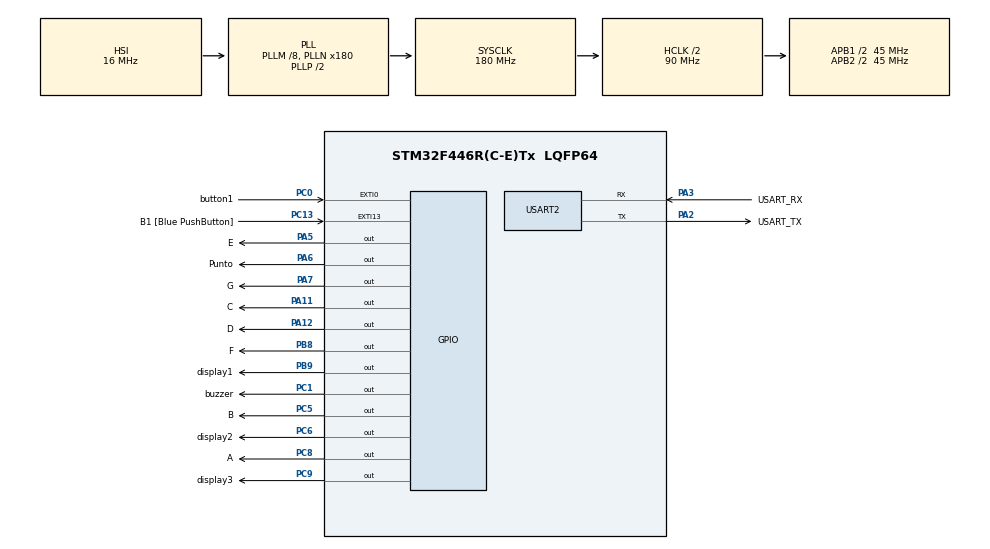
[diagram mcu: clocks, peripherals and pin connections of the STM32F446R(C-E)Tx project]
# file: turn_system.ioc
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Mcu.Family=STM32F4
Mcu.Name=STM32F446R(C-E)Tx
Mcu.Package=LQFP64
NVIC.EXTI0_IRQn=true\:0\:3\:false\:true\:true\:4\:true\:true\:true
NVIC.EXTI15_10_IRQn=true\:0\:0\:false\:true\:true\:3\:true\:true\:true
NVIC.PriorityGroup=NVIC_PRIORITYGROUP_0
NVIC.TIM2_IRQn=true\:0\:2\:false\:true\:true\:1\:true\:true\:true
NVIC.TIM3_IRQn=true\:0\:3\:true\:true\:true\:2\:true\:true\:true
PA11.GPIO_Label=C
PA11.Signal=GPIO_Output
PA12.GPIO_Label=D
PA12.Signal=GPIO_Output
PA13.GPIO_Label=TMS
PA13.Mode=Serial_Wire
PA13.Signal=SYS_JTMS-SWDIO
PA14.GPIO_Label=TCK
PA14.Mode=Serial_Wire
PA14.Signal=SYS_JTCK-SWCLK
PA2.GPIO_Label=USART_TX
PA2.Mode=Asynchronous
PA2.Signal=USART2_TX
PA3.GPIO_Label=USART_RX
PA3.Mode=Asynchronous
PA3.Signal=USART2_RX
PA5.GPIO_Label=E
PA5.Signal=GPIO_Output
PA6.GPIO_Label=Punto
PA6.Signal=GPIO_Output
PA7.GPIO_Label=G
PA7.Signal=GPIO_Output
PB3.GPIO_Label=SWO
PB3.Signal=SYS_JTDO-SWO
PB8.GPIO_Label=F
PB8.Signal=GPIO_Output
PB9.GPIO_Label=display1
PB9.Signal=GPIO_Output
PC0.GPIO_Label=button1
PC0.GPIO_ModeDefaultEXTI=GPIO_MODE_IT_RISING_FALLING
PC0.GPIO_PuPd=GPIO_NOPULL
PC0.Signal=GPXTI0
PC1.GPIO_Label=buzzer
PC1.Signal=GPIO_Output
PC13.GPIO_Label=B1 [Blue PushButton]
PC13.GPIO_ModeDefaultEXTI=GPIO_MODE_IT_FALLING
PC13.Signal=GPXTI13
PC14-OSC32_IN.Mode=LSE-External-Oscillator
PC14-OSC32_IN.Signal=RCC_OSC32_IN
PC15-OSC32_OUT.Mode=LSE-External-Oscillator
PC15-OSC32_OUT.Signal=RCC_OSC32_OUT
PC5.GPIO_Label=B
PC5.Signal=GPIO_Output
PC6.GPIO_Label=display2
PC6.Signal=GPIO_Output
PC8.GPIO_Label=A
PC8.Signal=GPIO_Output
PC9.GPIO_Label=display3
PC9.Signal=GPIO_Output
PH0-OSC_IN.Mode=HSE-External-Oscillator
PH0-OSC_IN.Signal=RCC_OSC_IN
PH1-OSC_OUT.Mode=HSE-External-Oscillator
PH1-OSC_OUT.Signal=RCC_OSC_OUT
ProjectManager.HeapSize=0x200
ProjectManager.StackSize=0x400
ProjectManager.TargetToolchain=STM32CubeIDE
RCC.48MHZClocksFreq_Value=84000000
RCC.AHBCLKDivider=RCC_SYSCLK_DIV2
RCC.AHBFreq_Value=90000000
RCC.APB1CLKDivider=RCC_HCLK_DIV2
RCC.APB1Freq_Value=45000000
RCC.APB1TimFreq_Value=90000000
RCC.APB2CLKDivider=RCC_HCLK_DIV2
RCC.APB2Freq_Value=45000000
RCC.APB2TimFreq_Value=90000000
RCC.CortexFreq_Value=90000000
RCC.FLatency-AdvancedSettings=FLASH_LATENCY_2
RCC.HCLKFreq_Value=90000000
RCC.HSE_VALUE=8000000
RCC.HSI_VALUE=16000000
RCC.PLLM=8
RCC.PLLN=180
RCC.SYSCLKFreq_VALUE=180000000
RCC.SYSCLKSource=RCC_SYSCLKSOURCE_PLLCLK
RCC.USBFreq_Value=180000000
RCC.VCOOutputFreq_Value=360000000
TIM2.Period=70
TIM2.Prescaler=9000-1
TIM3.AutoReloadPreload=TIM_AUTORELOAD_PRELOAD_ENABLE
TIM3.Period=10000-1
TIM3.Prescaler=9000-1
USART2.VirtualMode=VM_ASYNC
VP_TIM1_VS_ClockSourceINT.Mode=Internal
VP_TIM2_VS_ClockSourceINT.Mode=Internal
VP_TIM3_VS_ClockSourceINT.Mode=Internal
board=NUCLEO-F446RE

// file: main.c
/* USER CODE BEGIN Header */
/**
  ******************************************************************************
  * @file           : main.c
  * @brief          : Main program body
  ******************************************************************************
  * @attention
  *
  * Copyright (c) 2024 STMicroelectronics.
  * All rights reserved.
  *
  * This software is licensed under terms that can be found in the LICENSE file
  * in the root directory of this software component.
  * If no LICENSE file comes with this software, it is provided AS-IS.
  *
  ******************************************************************************
  */
/* USER CODE END Header */
#include "main.h"

TIM_HandleTypeDef htim1;
TIM_HandleTypeDef htim2;
TIM_HandleTypeDef htim3;

UART_HandleTypeDef huart2;

void SystemClock_Config(void);
static void MX_GPIO_Init(void);
static void MX_USART2_UART_Init(void);
static void MX_TIM1_Init(void);
static void MX_TIM2_Init(void);
static void MX_TIM3_Init(void);
static void MX_NVIC_Init(void);

/* USER CODE BEGIN 0 */
int number=0;
char d1;
char d2;
char d3;
char b1;
char ir;
void num(int n) {
    if (n == 0) {
    	GPIOC->ODR |= 0x0000120;
    	GPIOB->ODR |= 0x0000100;
    	GPIOA->ODR |= 0x0001860;
    } else if (n == 1) {
    	GPIOB->ODR |= 0x0000100;
    	GPIOA->ODR |= 0x0000060;
    }
    else if(n==2){
    	GPIOC->ODR |= 0x0000120;
    	GPIOA->ODR |= 0x00010E0;
    }
    else if(n==3){
    	GPIOC->ODR |= 0x0000120;
    	GPIOA->ODR |= 0x00018C0;
    }
    else if(n==4){
    	GPIOC->ODR |= 0x0000020;
		GPIOB->ODR |= 0x0000100;
		GPIOA->ODR |= 0x00008C0;
    }
    else if(n==5){
		GPIOA->ODR |= 0x00018C0;
		GPIOB->ODR |= 0x0000100;
		GPIOC->ODR |= 0x0000100;
    }
    else if(n==6){
    	GPIOA->ODR |= 0x00018E0;
    	GPIOB->ODR |= 0x0000100;
    	GPIOC->ODR |= 0x0000100;
	}
    else if(n==7){
    	GPIOA->ODR |=0x0000880;
    	GPIOC->ODR |= 0x0000120;
    }
    else if(n==8){
    	GPIOA->ODR |= 0x00018E0;
    	GPIOB->ODR |= 0x0000100;
    	GPIOC->ODR |= 0x0000120;
	}
    else if(n==9){
    	GPIOA->ODR |= 0x00018C0;
    	GPIOB->ODR |= 0x0000100;
    	GPIOC->ODR |= 0x0000120;
	}
}
void reset_all_pins(void) {
    // Reset all specified pins to low
	GPIOC->ODR &= 0xFFFFFC9F;
	GPIOB->ODR &= 0xFFFFFCFF;
	GPIOA->ODR &= 0xFFFFE71F;
    // c9 = 3display
    // c8 = A
    // c6 = display2
    // c5 = B
    // b8 = F
    // b9 = display1
    // a5 = E
    // a12 = D
    // a6 = DP
    // a11 = C
    // a7 = G
}

/* USER CODE END 0 */

int main(void)
{

  /* MCU Configuration--------------------------------------------------------*/

  /* Reset of all peripherals, Initializes the Flash interface and the Systick. */
  HAL_Init();

  /* Configure the system clock */
  SystemClock_Config();

  /* Initialize all configured peripherals */
  MX_GPIO_Init();
  MX_USART2_UART_Init();
  MX_TIM1_Init();
  MX_TIM2_Init();
  MX_TIM3_Init();

  /* Initialize interrupts */
  MX_NVIC_Init();
  /* USER CODE BEGIN 2 */
  HAL_TIM_Base_Start_IT(&htim2);
  //HAL_TIM_Base_Start_IT(&htim3);
  HAL_GPIO_WritePin(GPIOC, GPIO_PIN_9, 0);
  HAL_GPIO_WritePin(GPIOC, GPIO_PIN_6, 1);
  HAL_GPIO_WritePin(GPIOB, GPIO_PIN_9, 1);
  d1=110;
  d2=110;
  d3=115;
  b1=110;
  ir=110;
  /* USER CODE END 2 */

  /* Infinite loop */
  while (1)
  {

  }
}

void SystemClock_Config(void)
{
  RCC_OscInitTypeDef RCC_OscInitStruct = {0};
  RCC_ClkInitTypeDef RCC_ClkInitStruct = {0};

  /** Configure the main internal regulator output voltage
  */
  __HAL_RCC_PWR_CLK_ENABLE();
  __HAL_PWR_VOLTAGESCALING_CONFIG(PWR_REGULATOR_VOLTAGE_SCALE3);

  /** Initializes the RCC Oscillators according to the specified parameters
  * in the RCC_OscInitTypeDef structure.
  */
  RCC_OscInitStruct.OscillatorType = RCC_OSCILLATORTYPE_HSI;
  RCC_OscInitStruct.HSIState = RCC_HSI_ON;
  RCC_OscInitStruct.HSICalibrationValue = RCC_HSICALIBRATION_DEFAULT;
  RCC_OscInitStruct.PLL.PLLState = RCC_PLL_ON;
  RCC_OscInitStruct.PLL.PLLSource = RCC_PLLSOURCE_HSI;
  RCC_OscInitStruct.PLL.PLLM = 8;
  RCC_OscInitStruct.PLL.PLLN = 180;
  RCC_OscInitStruct.PLL.PLLP = RCC_PLLP_DIV2;
  RCC_OscInitStruct.PLL.PLLQ = 2;
  RCC_OscInitStruct.PLL.PLLR = 2;
  if (HAL_RCC_OscConfig(&RCC_OscInitStruct) != HAL_OK)
  {
    Error_Handler();
  }

  /** Initializes the CPU, AHB and APB buses clocks
  */
  RCC_ClkInitStruct.ClockType = RCC_CLOCKTYPE_HCLK|RCC_CLOCKTYPE_SYSCLK
                              |RCC_CLOCKTYPE_PCLK1|RCC_CLOCKTYPE_PCLK2;
  RCC_ClkInitStruct.SYSCLKSource = RCC_SYSCLKSOURCE_PLLCLK;
  RCC_ClkInitStruct.AHBCLKDivider = RCC_SYSCLK_DIV2;
  RCC_ClkInitStruct.APB1CLKDivider = RCC_HCLK_DIV2;
  RCC_ClkInitStruct.APB2CLKDivider = RCC_HCLK_DIV2;

  if (HAL_RCC_ClockConfig(&RCC_ClkInitStruct, FLASH_LATENCY_2) != HAL_OK)
  {
    Error_Handler();
  }
}

/**
  * @brief NVIC Configuration.
  * @retval None
  */
static void MX_NVIC_Init(void)
{
  /* TIM2_IRQn interrupt configuration */
  HAL_NVIC_SetPriority(TIM2_IRQn, 0, 2);
  HAL_NVIC_EnableIRQ(TIM2_IRQn);
  /* TIM3_IRQn interrupt configuration */
  HAL_NVIC_SetPriority(TIM3_IRQn, 0, 3);
  HAL_NVIC_EnableIRQ(TIM3_IRQn);
  /* EXTI15_10_IRQn interrupt configuration */
  HAL_NVIC_SetPriority(EXTI15_10_IRQn, 0, 0);
  HAL_NVIC_EnableIRQ(EXTI15_10_IRQn);
  /* EXTI0_IRQn interrupt configuration */
  HAL_NVIC_SetPriority(EXTI0_IRQn, 0, 3);
  HAL_NVIC_EnableIRQ(EXTI0_IRQn);
}

static void MX_TIM1_Init(void)
{

  TIM_ClockConfigTypeDef sClockSourceConfig = {0};
  TIM_MasterConfigTypeDef sMasterConfig = {0};

  htim1.Instance = TIM1;
  htim1.Init.Prescaler = 0;
  htim1.Init.CounterMode = TIM_COUNTERMODE_UP;
  htim1.Init.Period = 65535;
  htim1.Init.ClockDivision = TIM_CLOCKDIVISION_DIV1;
  htim1.Init.RepetitionCounter = 0;
  htim1.Init.AutoReloadPreload = TIM_AUTORELOAD_PRELOAD_DISABLE;
  if (HAL_TIM_Base_Init(&htim1) != HAL_OK)
  {
    Error_Handler();
  }
  sClockSourceConfig.ClockSource = TIM_CLOCKSOURCE_INTERNAL;
  if (HAL_TIM_ConfigClockSource(&htim1, &sClockSourceConfig) != HAL_OK)
  {
    Error_Handler();
  }
  sMasterConfig.MasterOutputTrigger = TIM_TRGO_RESET;
  sMasterConfig.MasterSlaveMode = TIM_MASTERSLAVEMODE_DISABLE;
  if (HAL_TIMEx_MasterConfigSynchronization(&htim1, &sMasterConfig) != HAL_OK)
  {
    Error_Handler();
  }

}

static void MX_TIM2_Init(void)
{

  TIM_ClockConfigTypeDef sClockSourceConfig = {0};
  TIM_MasterConfigTypeDef sMasterConfig = {0};

  htim2.Instance = TIM2;
  htim2.Init.Prescaler = 9000-1;
  htim2.Init.CounterMode = TIM_COUNTERMODE_UP;
  htim2.Init.Period = 70;
  htim2.Init.ClockDivision = TIM_CLOCKDIVISION_DIV1;
  htim2.Init.AutoReloadPreload = TIM_AUTORELOAD_PRELOAD_DISABLE;
  if (HAL_TIM_Base_Init(&htim2) != HAL_OK)
  {
    Error_Handler();
  }
  sClockSourceConfig.ClockSource = TIM_CLOCKSOURCE_INTERNAL;
  if (HAL_TIM_ConfigClockSource(&htim2, &sClockSourceConfig) != HAL_OK)
  {
    Error_Handler();
  }
  sMasterConfig.MasterOutputTrigger = TIM_TRGO_RESET;
  sMasterConfig.MasterSlaveMode = TIM_MASTERSLAVEMODE_DISABLE;
  if (HAL_TIMEx_MasterConfigSynchronization(&htim2, &sMasterConfig) != HAL_OK)
  {
    Error_Handler();
  }

}

static void MX_TIM3_Init(void)
{

  TIM_ClockConfigTypeDef sClockSourceConfig = {0};
  TIM_MasterConfigTypeDef sMasterConfig = {0};

  htim3.Instance = TIM3;
  htim3.Init.Prescaler = 9000-1;
  htim3.Init.CounterMode = TIM_COUNTERMODE_UP;
  htim3.Init.Period = 10000-1;
  htim3.Init.ClockDivision = TIM_CLOCKDIVISION_DIV1;
  htim3.Init.AutoReloadPreload = TIM_AUTORELOAD_PRELOAD_ENABLE;
  if (HAL_TIM_Base_Init(&htim3) != HAL_OK)
  {
    Error_Handler();
  }
  sClockSourceConfig.ClockSource = TIM_CLOCKSOURCE_INTERNAL;
  if (HAL_TIM_ConfigClockSource(&htim3, &sClockSourceConfig) != HAL_OK)
  {
    Error_Handler();
  }
  sMasterConfig.MasterOutputTrigger = TIM_TRGO_RESET;
  sMasterConfig.MasterSlaveMode = TIM_MASTERSLAVEMODE_DISABLE;
  if (HAL_TIMEx_MasterConfigSynchronization(&htim3, &sMasterConfig) != HAL_OK)
  {
    Error_Handler();
  }

}

static void MX_USART2_UART_Init(void)
{

  huart2.Instance = USART2;
  huart2.Init.BaudRate = 115200;
  huart2.Init.WordLength = UART_WORDLENGTH_8B;
  huart2.Init.StopBits = UART_STOPBITS_1;
  huart2.Init.Parity = UART_PARITY_NONE;
  huart2.Init.Mode = UART_MODE_TX_RX;
  huart2.Init.HwFlowCtl = UART_HWCONTROL_NONE;
  huart2.Init.OverSampling = UART_OVERSAMPLING_16;
  if (HAL_UART_Init(&huart2) != HAL_OK)
  {
    Error_Handler();
  }

}

static void MX_GPIO_Init(void)
{
  GPIO_InitTypeDef GPIO_InitStruct = {0};

  /* GPIO Ports Clock Enable */
  __HAL_RCC_GPIOC_CLK_ENABLE();
  __HAL_RCC_GPIOH_CLK_ENABLE();
  __HAL_RCC_GPIOA_CLK_ENABLE();
  __HAL_RCC_GPIOB_CLK_ENABLE();

  /*Configure GPIO pin Output Level */
  HAL_GPIO_WritePin(GPIOC, buzzer_Pin|B_Pin|display2_Pin|A_Pin
                          |display3_Pin, GPIO_PIN_RESET);

  /*Configure GPIO pin Output Level */
  HAL_GPIO_WritePin(GPIOA, E_Pin|Punto_Pin|G_Pin|C_Pin
                          |D_Pin, GPIO_PIN_RESET);

  /*Configure GPIO pin Output Level */
  HAL_GPIO_WritePin(GPIOB, F_Pin|display1_Pin, GPIO_PIN_RESET);

  /*Configure GPIO pin : B1_Pin */
  GPIO_InitStruct.Pin = B1_Pin;
  GPIO_InitStruct.Mode = GPIO_MODE_IT_FALLING;
  GPIO_InitStruct.Pull = GPIO_NOPULL;
  HAL_GPIO_Init(B1_GPIO_Port, &GPIO_InitStruct);

  /*Configure GPIO pin : button1_Pin */
  GPIO_InitStruct.Pin = button1_Pin;
  GPIO_InitStruct.Mode = GPIO_MODE_IT_RISING_FALLING;
  GPIO_InitStruct.Pull = GPIO_NOPULL;
  HAL_GPIO_Init(button1_GPIO_Port, &GPIO_InitStruct);

  /*Configure GPIO pins : buzzer_Pin B_Pin display2_Pin A_Pin
                           display3_Pin */
  GPIO_InitStruct.Pin = buzzer_Pin|B_Pin|display2_Pin|A_Pin
                          |display3_Pin;
  GPIO_InitStruct.Mode = GPIO_MODE_OUTPUT_PP;
  GPIO_InitStruct.Pull = GPIO_NOPULL;
  GPIO_InitStruct.Speed = GPIO_SPEED_FREQ_LOW;
  HAL_GPIO_Init(GPIOC, &GPIO_InitStruct);

  /*Configure GPIO pins : E_Pin Punto_Pin G_Pin C_Pin
                           D_Pin */
  GPIO_InitStruct.Pin = E_Pin|Punto_Pin|G_Pin|C_Pin
                          |D_Pin;
  GPIO_InitStruct.Mode = GPIO_MODE_OUTPUT_PP;
  GPIO_InitStruct.Pull = GPIO_NOPULL;
  GPIO_InitStruct.Speed = GPIO_SPEED_FREQ_LOW;
  HAL_GPIO_Init(GPIOA, &GPIO_InitStruct);

  /*Configure GPIO pins : F_Pin display1_Pin */
  GPIO_InitStruct.Pin = F_Pin|display1_Pin;
  GPIO_InitStruct.Mode = GPIO_MODE_OUTPUT_PP;
  GPIO_InitStruct.Pull = GPIO_NOPULL;
  GPIO_InitStruct.Speed = GPIO_SPEED_FREQ_LOW;
  HAL_GPIO_Init(GPIOB, &GPIO_InitStruct);

}

/* USER CODE BEGIN 4 */
void HAL_TIM_PeriodElapsedCallback(TIM_HandleTypeDef *htim){
	 if(htim==&htim3){
		number++;
		if(number==1000){
			number=0;
		 }
	  }
	 else if(htim==&htim2){
    	  reset_all_pins();
    	  if(d3==115){
    		  d3=110;
    		  d2=115;
    		  num((number)%10);
    		  HAL_GPIO_TogglePin(GPIOC, GPIO_PIN_9);
    		  HAL_GPIO_TogglePin(GPIOC, GPIO_PIN_6);
    	  }
    	  else if(d2==115){
    		  num((number/100)%10);
    		  d2=110;
    		  d1=115;
    		  HAL_GPIO_TogglePin(GPIOC, GPIO_PIN_6);
    		  HAL_GPIO_TogglePin(GPIOB, GPIO_PIN_9);
    	  }
    	  else if(d1==115){
    		  d1=110;
    		  d3=115;
    		  num((number/10)%10);
    		  HAL_GPIO_TogglePin(GPIOB, GPIO_PIN_9);
    		  HAL_GPIO_TogglePin(GPIOC, GPIO_PIN_9);
    	  }
      }

}
void HAL_GPIO_EXTI_Callback(uint16_t GPIO_Pin)
{
  if(GPIO_Pin == GPIO_PIN_0) {
	  if(ir==110){
		  ir=115;
		  number++;
		  HAL_GPIO_WritePin(GPIOC, GPIO_PIN_1, 1);
	  }
	  else{
		  HAL_GPIO_WritePin(GPIOC, GPIO_PIN_1, 0);
		  ir=110;
	  }
  }
}
/* USER CODE END 4 */

void Error_Handler(void)
{
  __disable_irq();
  while (1)
  {
  }
}
